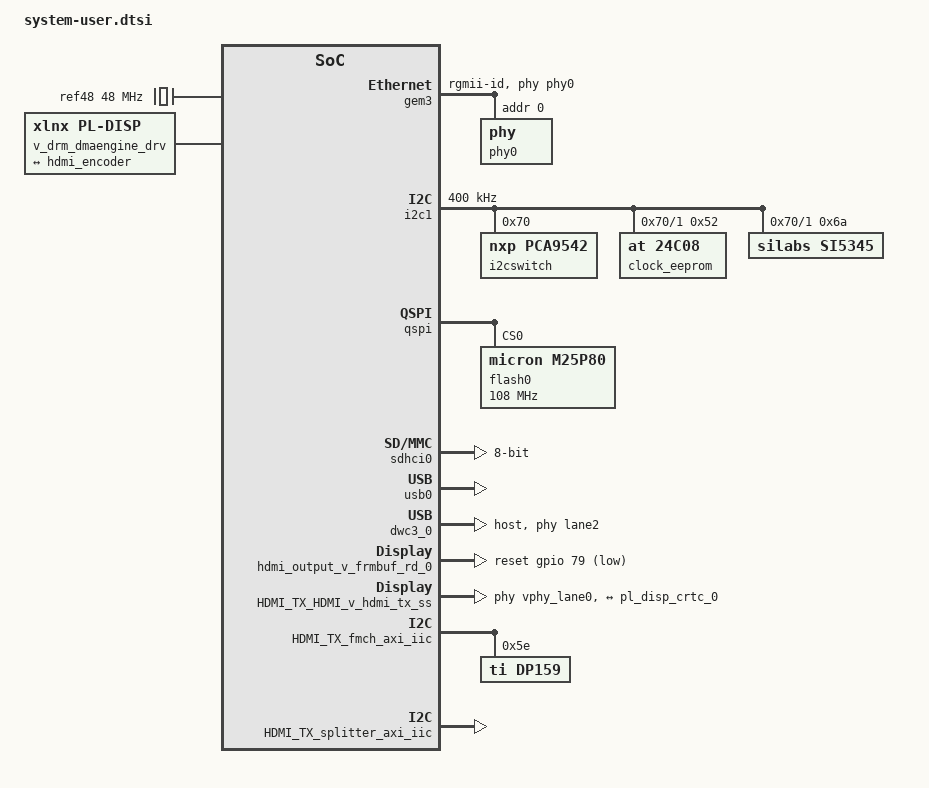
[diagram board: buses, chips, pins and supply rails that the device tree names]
/include/ "system-conf.dtsi"
/ {
   xlnk {
      compatible = "xlnx,xlnk-1.0";
   };
};

&gem3 {
	status = "okay";
	local-mac-address = [00 0a 35 00 02 90];
	phy-mode = "rgmii-id";
	phy-handle = <&phy0>;
	phy0: phy@0 {
		reg = <0x0>;
		ti,rx-internal-delay = <0x5>;
		ti,tx-internal-delay = <0x5>;
		ti,fifo-depth = <0x1>;
	};
};

&i2c1 {
	status = "okay";
	clock-frequency = <400000>;

	i2cswitch@70 { /* U7 on UZ3EG SOM, U8 on UZ7EV SOM */
		compatible = "nxp,pca9542";
		#address-cells = <1>;
		#size-cells = <0>;
		reg = <0x70>;
		i2c@1 { /* i2c mw 70 0 1 */
			#address-cells = <1>;
			#size-cells = <0>;
			reg = <1>;

			/* Ethernet MAC ID EEPROM */
                        mac_eeprom@53 { /* U5 on UZ3EG IOCC and U7 on the UZ7EV EVCC */
                                comptible = "at,24c08";
                                reg = <0x53>;
                                status = "disabled";
                        };

			/* CLOCK2 CONFIG EEPROM */
			clock_eeprom@52 { /* U5 on the UZ7EV EVCC */
				compatible = "at,24c08";
				reg = <0x52>;
			};

			si5345: clock-generator@6a {
				reg = <0x6a>;
				compatible = "silabs,si5345";
				#clock-cells = <2>;
				#address-cells = <1>;
				#size-cells = <0>;
				clocks = <&ref48>;
				clock-names = "xtal";
	
			};

		};
	};
};


&qspi {
	#address-cells = <1>;
	#size-cells = <0>;
	status = "okay";
	is-dual = <1>; /* Set for dual-parallel QSPI config */
	num-cs = <2>;
	xlnx,fb-clk = <0x1>;
	flash0: flash@0 {
        /* The Flash described below doesn't match our board ("micron,n25qu256a"), but is needed */
        /* so the Flash MTD partitions are correctly identified in /proc/mtd */
		compatible = "micron,m25p80"; /* 32MB */
		#address-cells = <1>;
		#size-cells = <1>;
		reg = <0x0>;
		spi-tx-bus-width = <1>;
		spi-rx-bus-width = <4>; /* FIXME also DUAL configuration possible */
		spi-max-frequency = <108000000>; /* Set to 108000000 Based on DC1 spec */
	};
};

/* SD0 eMMC, 8-bit wide data bus */
&sdhci0 {
	status = "okay";
	bus-width = <8>;
	max-frequency = <50000000>;
};

/* SD1 with level shifter */
&sdhci1 {
	status = "okay";
	max-frequency = <50000000>;
	no-1-8-v;	/* for 1.0 silicon */
	status = "disabled";
};

&sata {
	status = "disabled";
};


/* ULPI SMSC USB3320 */
&usb0 {
	status = "okay";
};

&dwc3_0 {
	status = "okay";
	dr_mode = "host";
	phy-names = "usb3-phy";
        snps,usb3_lpm_capable;
        phys = <&lane2 4 0 2 52000000>;
};

&amba {
	usb1@ff9e0000 {
		dwc3@fe300000 {
		snps,enable_auto_retry;
		};
	};

	ref48: ref48m {
                compatible = "fixed-clock";
                #clock-cells = <0>;
                clock-frequency = <48000000>;
        };

};

&v_pl_disp {
        #address-cells = <1>;
        #size-cells = <0>;

};

&amba_pl {

	/* video_clk edited */
        misc_clk_4: misc_clk_4 {
		    #clock-cells = <0>;
		    clock-frequency = <37125000>;
		    compatible = "fixed-clock";
	    };

	
	 v_drm_dmaengine_drv: drm-dmaengine-drv {
                        compatible = "xlnx,pl-disp";
                        dmas = <&hdmi_output_v_frmbuf_rd_0 0>;
                        dma-names = "dma0";
                        xlnx,vformat = "YUYV";
                        #address-cells = <1>;
                        #size-cells = <0>;
                        pl_disp_port_0: port {
                                        pl_disp_crtc_0: endpoint{
                                                remote-endpoint = <&hdmi_encoder>;
                                        };
                        };

        };

       hdmi_output_v_frmbuf_rd_0: v_frmbuf_rd@a0110000 {
                compatible = "xlnx,axi-frmbuf-rd-v2";
                #dma-cells = <1>;
                interrupt-parent = <&gic>;
                interrupts = <0 89 4>;
                reg = <0x0 0xa0110000 0x0 0x10000>;
                reset-gpios = <&gpio 79 1>;
                xlnx,dma-addr-width = <64>;
                xlnx,vid-formats = "bgr888","rgb888","xbgr8888","xrgb8888","vuy888","xvuy8888","y8","yuyv","uyvy","nv16","nv12";
        };

      plddr_2k_axi_vdma: v_frmbuf_rd_sdi@a0120000 {
                compatible = "xlnx,axi-frmbuf-rd-v2";
                #dma-cells = <1>;
                interrupt-parent = <&gic>;
                interrupts = <0 88 4>;
                reg = <0x0 0xa0120000 0x0 0x10000>;
                reset-gpios = <&gpio 80 1>;
                xlnx,dma-addr-width = <64>;
                xlnx,vid-formats = "bgr888","rgb888","xbgr8888","xrgb8888","vuy888","xvuy8888","y8","yuyv","uyvy","nv16","nv12";
        };


};


&HDMI_TX_HDMI_v_hdmi_tx_ss {
	     clock-names = "s_axi_cpu_aclk", "link_clk", "s_axis_audio_aclk", "video_clk", "s_axis_video_aclk", "txref-clk", "retimer-clk";
             clocks = <&misc_clk_0>, <&misc_clk_2>, <&misc_clk_0>, <&misc_clk_4>, <&misc_clk_2>, <&si5345 0 1>, <&dp159>;
	     assigned-clocks = <&si5345 0 1>, <&si5345 1 0>;
	     assigned-clock-parents = <&si5345 1 0>;
	     /* Set output 7 to 148.5 MHz using a synth frequency of 594 MHz */
	     /*assigned-clock-rates = <0>;*/
	     assigned-clock-rates = <0>, <297000000>;
	     phy-names = "hdmi-phy0", "hdmi-phy1", "hdmi-phy2";
             phys = <&vphy_lane0 0 1 1 1>, <&vphy_lane1 0 1 1 1>, <&vphy_lane2 0 1 1 1>;
             xlnx,input-pixels-per-clock = <4>;
             ports {
                   encoder_hdmi_port: port {
                                        hdmi_encoder: endpoint {
                                                remote-endpoint = <&pl_disp_crtc_0>;
                                        };
                                };
             };
};


&HDMI_TX_vid_phy_controller {
                        clock-names = "mgtrefclk0_pad_p_in", "mgtrefclk0_pad_n_in", "vid_phy_tx_axi4s_aclk", "vid_phy_sb_aclk", "vid_phy_axi4lite_aclk", "drpclk";
                        clocks = <&misc_clk_1>, <&misc_clk_1>, <&misc_clk_2>, <&misc_clk_0>, <&misc_clk_0>, <&misc_clk_0>;

};

&misc_clk_2 {
	#clock-cells = <0>;
     	clock-frequency = <58687500>;
        compatible = "fixed-clock";
};



&HDMI_TX_fmch_axi_iic {
		status = "okay";
                dp159: hdmi-retimer@5e {
                        compatible = "ti,dp159";
                        reg = <0x5e>;
                        #address-cell = <1>;
                        #size-cells = <0>;
                        #clock-cells = <0>;
                        status = "okay";
        };
};

&HDMI_TX_splitter_axi_iic {
		status = "okay";
};

&HDMI_TX_v_proc_ss {
		compatible = "generic-uio";
};

&SDI_TX_v_proc_ss{
		compatible = "generic-uio";
};

&SDI_TX_SDI_sdi_tx_axi_quad_spi {
		compatible = "generic-uio";
};

&SDI_TX_SDI_sdi_tx_axi_gpio {
		compatible = "generic-uio";
};

&RX_PATH_SDI_RX_v_smpte_uhdsdi_rx_ss_0 {
                clock-names = "sdi_rx_clk", "s_axi_aclk", "video_out_clk";
                clocks = <&misc_clk_1>, <&misc_clk_0>, <&misc_clk_1>;
                sdirx_ports0: ports {

                        sdirx_port0: port {
                                        xlnx,video-format = <0x0>;
                                        xlnx,video-width = <10>;

                                        sdix_output0: endpoint {
                                        };

                                };
                };
};

&RX_PATH_SDI_RX_v_smpte_uhdsdi_rx_ss_1 {
                clock-names = "sdi_rx_clk", "s_axi_aclk", "video_out_clk";
                clocks = <&misc_clk_1>, <&misc_clk_0>, <&misc_clk_1>;
                sdirx_ports1: ports {

                        sdirx_port1: port {
                                        xlnx,video-format = <0x0>;
                                        xlnx,video-width = <10>;

                                        sdix_output1: endpoint {
                                        };

                                };
                };
};


&RX_PATH_SDI_RX_v_smpte_uhdsdi_rx_ss_2 {
                clock-names = "sdi_rx_clk", "s_axi_aclk", "video_out_clk";
                clocks = <&misc_clk_1>, <&misc_clk_0>, <&misc_clk_1>;
                sdirx_ports2: ports {

                        sdirx_port2: port {
                                        xlnx,video-format = <0x0>;
                                        xlnx,video-width = <10>;

                                        sdix_output2: endpoint {
                                        };

                                };
                };
};

&RX_PATH_SDI_RX_v_smpte_uhdsdi_rx_ss_3 {
                clock-names = "sdi_rx_clk", "s_axi_aclk", "video_out_clk";
                clocks = <&misc_clk_1>, <&misc_clk_0>, <&misc_clk_1>;
                sdirx_ports3: ports {

                        sdirx_port3: port {
                                        xlnx,video-format = <0x0>;
                                        xlnx,video-width = <10>;

                                        sdix_output3: endpoint {
                                        };

                                };
                };
};


&programming_logic_config_axi_lite_slave_v2 {
		status = "okay";
};


&SDI_TX_SDI_v_smpte_uhdsdi_tx_ss {
		compatible = "dlnx,sdi-tx";
                interrupt-names = "sdi_tx_irq";
                interrupt-parent = <&gic>;
                interrupts = <0 106 4>;
};
